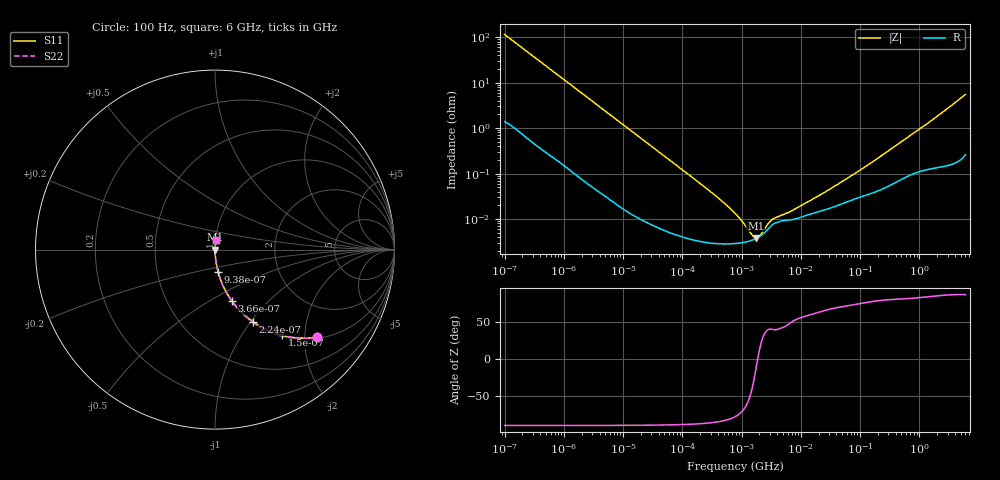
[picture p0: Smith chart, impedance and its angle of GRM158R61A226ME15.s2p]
!Murata Part Number: GRM158R61A226ME15
!These Parameters are Measured in Series Mode Connection
!Data Generated on Mar 30, 2021
!  o--ll--o
!Port1  Port2
!  o------o
!Operation Temp=25[degC], DC Bias Voltage=0[V]
!Freq. Start=100[Hz] Stop=6[GHz] 401[Steps]
# Hz S RI R 50
!Freq.(Hz) S11(Real) S11(Imag) S21(Real) S21(Imag) S12(Real) S12(Imag) S22(Real) S22(Imag)
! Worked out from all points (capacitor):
!   401 points, 100 Hz to 6 GHz, reference 50 ohm
!   read as one part in series: C = 13.8 uF near 109 Hz
!   lowest |Z| = 3.82 mohm at 1.734 MHz (marker M1)
!   series resonance near 1.867 MHz, so ESL is about 530 pH
!   S11 on the Smith chart (normalised r, x): 100 Hz: 1.03, -2.29; 150 Hz: 1.02, -1.54; 224 Hz: 1.01, -1.03; 366 Hz: 1.01, -0.63; 938 Hz: 1.00, -0.25; 6 GHz: 1.01, +0.11
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100  0.5668 -0.4895  0.4332 0.4895  0.4332 0.4895  0.5668 -0.4895
150  0.3731 -0.4773  0.6269 0.4773  0.6269 0.4773  0.3731 -0.4773
224  0.2131 -0.4033  0.7869 0.4033  0.7869 0.4033  0.2131 -0.4033
366  0.0938 -0.2856  0.9062 0.2856  0.9062 0.2856  0.0938 -0.2856
548  0.0454 -0.2019  0.9546 0.2019  0.9546 0.2019  0.0454 -0.2019
938  0.0168 -0.1222  0.9832 0.1222  0.9832 0.1222  0.0168 -0.1222
2008  0.00414 -0.0582  0.9959 0.0582  0.9959 0.0582  0.00414 -0.0582
6433  0.000587 -0.0184  0.9994 0.0184  0.9994 0.0184  0.000587 -0.0184
40335  7.14e-05 -0.00298  0.9999 0.00298  0.9999 0.00298  7.14e-05 -0.00298
316350  2.93e-05 -0.000375  1 0.000375  1 0.000375  2.93e-05 -0.000375
517687  2.83e-05 -0.000218  1 0.000218  1 0.000218  2.83e-05 -0.000218
774597  2.88e-05 -0.000131  1 0.000131  1 0.000131  2.88e-05 -0.000131
885955  2.93e-05 -0.000107  1 0.000107  1 0.000107  2.93e-05 -0.000107
1013323  3e-05 -8.5e-05  1 8.5e-05  1 8.5e-05  3e-05 -8.5e-05
1734173  3.7e-05 -9.5e-06  1 9.5e-06  1 9.5e-06  3.7e-05 -9.5e-06
3549919  7.94e-05 6.63e-05  0.9999 -6.63e-05  0.9999 -6.63e-05  7.94e-05 6.63e-05
6644369  9.51e-05 0.00011  0.9999 -0.00011  0.9999 -0.00011  9.51e-05 0.00011
1.555665e7  0.000131 0.000236  0.9999 -0.000236  0.9999 -0.000236  0.000131 0.000236
8.527865e7  0.000282 0.000995  0.9997 -0.000995  0.9997 -0.000995  0.000282 0.000995
3.124326e8  0.000547 0.00322  0.9995 -0.00322  0.9995 -0.00322  0.000547 0.00322
1.369159e9  0.00137 0.0125  0.9986 -0.0125  0.9986 -0.0125  0.00137 0.0125
6e9  0.00557 0.0545  0.9944 -0.0545  0.9944 -0.0545  0.00557 0.0545
